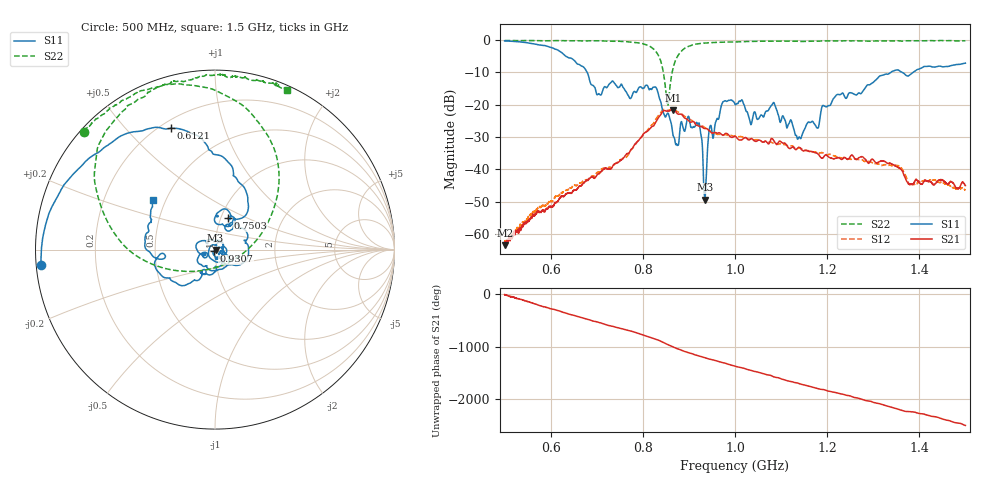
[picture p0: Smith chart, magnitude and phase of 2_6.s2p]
!Agilent Technologies,E8364B,US42250235,A.06.04.32
!Agilent E8364B: A.06.04.32
!Date: Thursday, October 01, 2020 14:56:21
!Correction: S11(Full 2 Port(1,2)) S21(Full 2 Port(1,2)) S12(Full 2 Port(1,2)) S22(Full 2 Port(1,2))
!S2P File: Measurements: S11, S21, S12, S22:
# Hz S  dB  R 50
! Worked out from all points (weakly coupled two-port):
!   2650 points, 500 MHz to 1.5 GHz, reference 50 ohm
!   highest |S21| = -21.61 dB at 865 MHz (marker M1); lowest = -63.5 dB at 501.5 MHz (marker M2)
!   lowest |S11| = -49.4 dB at 934.9 MHz (marker M3), VSWR 1.01, Z = 50.3 - j0.184 ohm
!   |S11| at or under -10 dB: 679.3 MHz to 1.338 GHz (658.8 MHz wide, 65.3 % of centre); 1.363 GHz to 1.386 GHz (23.32 MHz wide, 1.7 % of centre)
!   |S22| runs from -20.4 to -0.1 dB; largest |S21 - S12| = 0.062
!   S11 on the Smith chart (normalised r, x): 500 MHz: 0.01, -0.04; 612.1 MHz: 0.24, +0.67; 750.3 MHz: 1.08, +0.40; 930.7 MHz: 0.98, -0.02; 1.5 GHz: 0.43, +0.29
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5e8  -0.23 -175.1  -63.02 -13.5  -63.00 -2.6  -0.15 138.0
5.0151e8  -0.24 -175.9  -63.55 -16.4  -61.90 -7.0  -0.14 138.0
6.121178e8  -2.87 109.8  -50.19 51.3  -48.34 71.0  -0.15 126.6
6.668554e8  -8.00 70.6  -44.98 -88.7  -44.11 -65.6  -0.23 119.9
7.03473e8  -16.59 73.3  -41.27 180.0  -40.86 -153.3  -0.21 115.0
7.502831e8  -14.36 67.3  -37.36 68.2  -37.12 100.5  -0.37 106.3
8.046433e8  -14.31 38.3  -28.61 -71.9  -28.64 -28.2  -1.32 85.8
8.337108e8  -16.82 -37.6  -24.03 -156.5  -23.35 -116.5  -4.71 52.6
8.533409e8  -22.66 -62.6  -21.99 123.3  -21.78 165.3  -20.25 -57.9
8.650434e8  -29.07 -170.1  -21.61 79.5  -21.51 122.0  -8.99 -166.5
9.194035e8  -25.98 -55.6  -26.46 -89.9  -26.00 -47.7  -1.14 137.0
9.307286e8  -38.46 -133.1  -27.14 -119.9  -26.68 -76.9  -0.94 132.5
9.348811e8  -49.36 -32.5  -27.38 -129.4  -27.13 -88.2  -0.90 131.2
9.458286e8  -26.68 -5.8  -28.25 -159.4  -28.11 -115.0  -0.80 128.0
1.000189e9  -19.88 -117.2  -29.77 71.3  -29.60 120.6  -0.56 117.8
1.034164e9  -26.09 -155.6  -30.54 -6.2  -30.68 37.9  -0.42 112.1
1.083994e9  -19.32 165.8  -31.08 -131.7  -31.81 -79.4  -0.37 105.8
1.138732e9  -30.03 -41.7  -33.12 102.3  -33.44 151.9  -0.37 101.5
1.166667e9  -25.20 -81.1  -34.45 37.3  -34.52 86.4  -0.33 97.2
1.333522e9  -10.43 -148.2  -38.12 29.3  -38.75 59.3  -0.24 82.7
1.380332e9  -10.64 -169.8  -44.61 -70.1  -44.70 -58.0  -0.23 75.9
1.5e9  -7.13 141.2  -45.06 28.1  -46.50 21.5  -0.21 65.6
